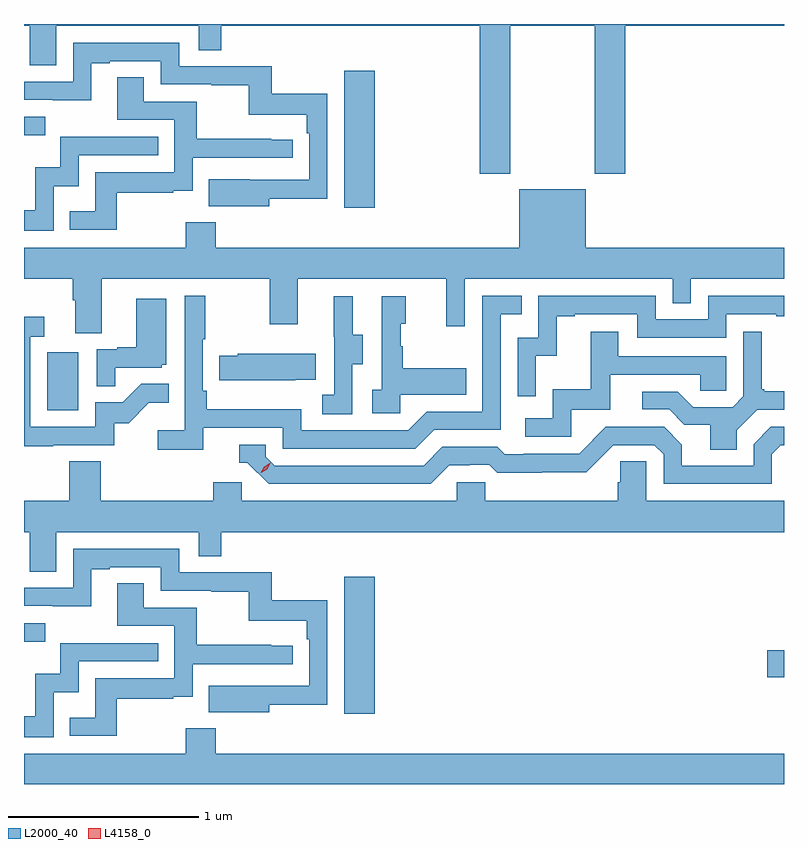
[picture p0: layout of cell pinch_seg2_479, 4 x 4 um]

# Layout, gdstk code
import gdstk
lib = gdstk.Library(unit=1e-6, precision=1e-09)
def R(c, l, rs):  # rectangles x0, y0, x1, y1
    for r in rs: c.add(gdstk.rectangle(r[:2], r[2:], *l))
def P(c, l, *ps):  # polygons
    for p in ps: c.add(gdstk.Polygon(p, *l))
L2000_40 = (2000, 40)
L4158_0 = (4158, 0)

pinch_seg2_479 = lib.new_cell('pinch_seg2_479')
R(pinch_seg2_479, L2000_40, [(926.345,590.736,926.506,591.457), (928.572,590.929,928.66,591.071), (924.66,591.116,924.772,591.213), (924.782,592.332,924.946,592.639), (926.345,593.4,926.506,594.121), (924.66,593.78,924.772,593.877)])
P(pinch_seg2_479, L2000_40, [(927.219,594.356),(927.664,594.356),(927.664,593.577),(927.824,593.577),(927.824,594.356),(928.66,594.356),(928.66,594.366),(924.66,594.366),(924.66,594.356),(924.69,594.356),(924.69,594.148),(924.829,594.148),(924.829,594.356),(925.581,594.356),(925.581,594.229),(925.697,594.229),(925.697,594.356),(927.059,594.356),(927.059,593.577),(927.219,593.577)],
  [(925.951,593.446),(926.256,593.446),(926.256,593.998),(925.963,593.998),(925.963,594.144),(925.476,594.144),(925.476,594.267),(924.918,594.267),(924.918,594.063),(924.66,594.063),(924.66,593.967),(924.81,593.967),(924.81,593.966),(925.015,593.966),(925.015,594.159),(925.111,594.159),(925.111,594.171),(925.38,594.171),(925.38,594.048),(925.645,594.048),(925.645,594.043),(925.842,594.043),(925.842,593.888),(926.147,593.888),(926.147,593.792),(926.16,593.792),(926.16,593.547),(925.847,593.547),(925.847,593.548),(925.633,593.548),(925.633,593.408),(925.951,593.408)],
  [(925.147,593.478),(925.445,593.478),(925.445,593.489),(925.548,593.489),(925.548,593.661),(926.074,593.661),(926.074,593.757),(925.961,593.757),(925.961,593.762),(925.568,593.762),(925.568,593.958),(925.291,593.958),(925.291,594.086),(925.151,594.086),(925.151,593.862),(925.452,593.862),(925.452,593.586),(925.036,593.586),(925.036,593.38),(924.901,593.38),(924.901,593.283),(925.147,593.283)],
  [(924.816,593.513),(924.948,593.513),(924.948,593.676),(925.367,593.676),(925.367,593.772),(924.852,593.772),(924.852,593.611),(924.719,593.611),(924.719,593.386),(924.66,593.386),(924.66,593.277),(924.816,593.277)],
  [(925.069,593.024),(925.954,593.024),(925.954,592.785),(926.101,592.785),(926.101,593.024),(926.882,593.024),(926.882,592.776),(926.979,592.776),(926.979,593.024),(928.074,593.024),(928.074,592.897),(928.17,592.897),(928.17,593.024),(928.66,593.024),(928.66,593.188),(927.616,593.188),(927.616,593.497),(927.266,593.497),(927.266,593.188),(925.67,593.188),(925.67,593.323),(925.51,593.323),(925.51,593.188),(924.66,593.188),(924.66,593.024),(924.917,593.024),(924.917,592.912),(924.929,592.912),(924.929,592.738),(925.069,592.738)],
  [(925.604,592.242),(926.022,592.242),(926.022,592.131),(926.719,592.131),(926.818,592.23),(927.168,592.23),(927.168,592.839),(927.281,592.839),(927.281,592.935),(927.072,592.935),(927.072,592.326),(926.781,592.326),(926.682,592.227),(926.118,592.227),(926.118,592.339),(925.622,592.339),(925.622,592.435),(925.602,592.435),(925.602,592.708),(925.615,592.708),(925.615,592.936),(925.506,592.936),(925.506,592.228),(925.365,592.228),(925.365,592.126),(925.604,592.126)],
  [(927.354,592.619),(927.464,592.619),(927.464,592.827),(927.559,592.827),(927.559,592.839),(927.888,592.839),(927.888,592.716),(928.356,592.716),(928.356,592.839),(928.619,592.839),(928.619,592.827),(928.66,592.827),(928.66,592.935),(928.26,592.935),(928.26,592.812),(927.984,592.812),(927.984,592.935),(927.366,592.935),(927.366,592.716),(927.258,592.716),(927.258,592.407),(927.354,592.407)],
  [(926.388,592.576),(926.443,592.576),(926.443,592.731),(926.389,592.731),(926.389,592.933),(926.291,592.933),(926.291,592.719),(926.292,592.719),(926.292,592.415),(926.229,592.415),(926.229,592.312),(926.388,592.312)],
  [(926.64,592.415),(926.987,592.415),(926.987,592.555),(926.653,592.555),(926.653,592.67),(926.643,592.67),(926.643,592.788),(926.668,592.788),(926.668,592.933),(926.544,592.933),(926.544,592.442),(926.493,592.442),(926.493,592.317),(926.64,592.317)],
  [(925.139,592.557),(925.386,592.557),(925.386,592.572),(925.408,592.572),(925.408,592.921),(925.25,592.921),(925.25,592.666),(925.151,592.666),(925.151,592.653),(925.044,592.653),(925.044,592.459),(925.139,592.459)],
  [(924.815,592.149),(925.134,592.149),(925.134,592.266),(925.21,592.266),(925.317,592.373),(925.421,592.373),(925.421,592.472),(925.277,592.472),(925.179,592.374),(925.035,592.374),(925.035,592.245),(924.693,592.245),(924.693,592.719),(924.766,592.719),(924.766,592.825),(924.66,592.825),(924.66,592.144),(924.815,592.144)],
  [(927.54,592.335),(927.745,592.335),(927.745,592.521),(928.219,592.521),(928.219,592.437),(928.356,592.437),(928.356,592.617),(927.787,592.617),(927.787,592.747),(927.643,592.747),(927.643,592.444),(927.444,592.444),(927.444,592.29),(927.297,592.29),(927.297,592.194),(927.54,592.194)],
  [(928.411,592.228),(928.518,592.335),(928.66,592.335),(928.66,592.432),(928.555,592.432),(928.555,592.444),(928.543,592.444),(928.543,592.747),(928.446,592.747),(928.446,592.407),(928.389,592.35),(928.183,592.35),(928.102,592.431),(927.915,592.431),(927.915,592.338),(928.056,592.338),(928.136,592.258),(928.271,592.258),(928.271,592.126),(928.411,592.126)],
  [(926.087,592.493),(926.195,592.493),(926.195,592.63),(925.785,592.63),(925.785,592.62),(925.687,592.62),(925.687,592.49),(926.087,592.49)],
  [(926.899,592.044),(927.006,592.044),(927.006,592.047),(927.109,592.047),(927.151,592.005),(927.384,592.005),(927.384,592.007),(927.62,592.007),(927.762,592.149),(927.978,592.149),(928.026,592.101),(928.026,591.945),(928.596,591.945),(928.596,592.101),(928.644,592.149),(928.66,592.149),(928.66,592.245),(928.59,592.245),(928.5,592.155),(928.5,592.041),(928.123,592.041),(928.123,592.151),(928.029,592.245),(927.723,592.245),(927.582,592.104),(927.289,592.104),(927.289,592.101),(927.19,592.101),(927.151,592.14),(926.862,592.14),(926.763,592.041),(925.98,592.041),(925.932,592.089),(925.932,592.152),(925.793,592.152),(925.793,592.056),(925.836,592.056),(925.947,591.945),(926.8,591.945)],
  [(924.829,591.692),(925.581,591.692),(925.581,591.565),(925.697,591.565),(925.697,591.692),(928.66,591.692),(928.66,591.856),(927.936,591.856),(927.936,592.064),(927.799,592.064),(927.799,591.954),(927.785,591.954),(927.785,591.856),(927.087,591.856),(927.087,591.954),(926.937,591.954),(926.937,591.856),(925.806,591.856),(925.806,591.954),(925.655,591.954),(925.655,591.856),(925.064,591.856),(925.064,592.064),(924.899,592.064),(924.899,591.856),(924.66,591.856),(924.66,591.692),(924.69,591.692),(924.69,591.484),(924.829,591.484)],
  [(925.951,590.782),(926.256,590.782),(926.256,591.334),(925.963,591.334),(925.963,591.48),(925.476,591.48),(925.476,591.603),(924.918,591.603),(924.918,591.399),(924.66,591.399),(924.66,591.303),(924.81,591.303),(924.81,591.302),(925.015,591.302),(925.015,591.495),(925.111,591.495),(925.111,591.507),(925.38,591.507),(925.38,591.384),(925.645,591.384),(925.645,591.379),(925.842,591.379),(925.842,591.224),(926.147,591.224),(926.147,591.128),(926.16,591.128),(926.16,590.883),(925.847,590.883),(925.847,590.884),(925.633,590.884),(925.633,590.744),(925.951,590.744)],
  [(925.147,590.814),(925.445,590.814),(925.445,590.825),(925.548,590.825),(925.548,590.997),(926.074,590.997),(926.074,591.093),(925.961,591.093),(925.961,591.098),(925.568,591.098),(925.568,591.294),(925.291,591.294),(925.291,591.422),(925.151,591.422),(925.151,591.198),(925.452,591.198),(925.452,590.922),(925.036,590.922),(925.036,590.716),(924.901,590.716),(924.901,590.619),(925.147,590.619)],
  [(924.816,590.849),(924.948,590.849),(924.948,591.012),(925.367,591.012),(925.367,591.108),(924.852,591.108),(924.852,590.947),(924.719,590.947),(924.719,590.722),(924.66,590.722),(924.66,590.613),(924.816,590.613)],
  [(928.66,590.524),(925.67,590.524),(925.67,590.659),(925.51,590.659),(925.51,590.524),(924.66,590.524),(924.66,590.366),(928.66,590.366)])
P(pinch_seg2_479, L4158_0, [(925.907,592.004),(925.907,592.004),(925.924,592.037),(925.955,592.056),(925.956,592.056),(925.956,592.055),(925.939,592.023),(925.908,592.004)])

lib.write_gds('pinch_seg2_479.gds')
